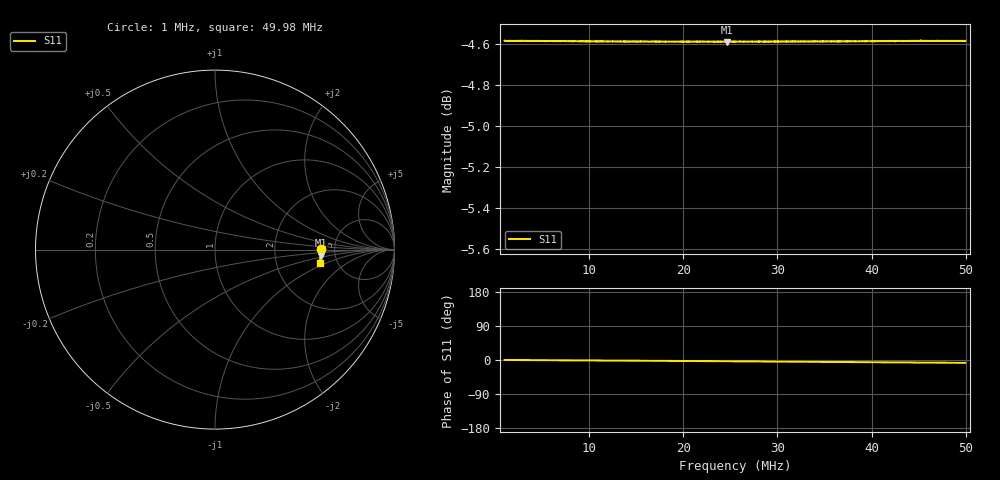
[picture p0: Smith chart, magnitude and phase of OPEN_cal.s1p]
! Created with skrf (http://scikit-rf.org).
# Hz S RI R 50.0
!freq ReS11 ImS11
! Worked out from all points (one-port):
!   2000 points, 1 MHz to 49.98 MHz, reference 50 ohm
!   lowest |S11| = -4.6 dB at 24.67 MHz (marker M1), VSWR 3.87, Z = 191 - j19.4 ohm
!   |S11| at or under -10 dB: nowhere
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1000000  0.5898 0.000965
1220500  0.5897 0.000592
2078000  0.5897 -0.000735
3425500  0.5897 -0.00276
7125000  0.5897 -0.00812
9942500  0.5895 -0.0122
1.2221e7  0.5894 -0.0153
1.325e7  0.5893 -0.0169
1.6778e7  0.5891 -0.0218
1.9375e7  0.5889 -0.0254
2.1972e7  0.5888 -0.0292
2.4667e7  0.5885 -0.0332
2.55e7  0.5884 -0.0344
2.7852e7  0.5882 -0.0381
2.89055e7  0.5882 -0.0397
3.1625e7  0.5879 -0.0441
3.44915e7  0.5875 -0.0489
3.71375e7  0.5871 -0.0536
3.775e7  0.5871 -0.0548
3.95385e7  0.5868 -0.0579
4.09595e7  0.5865 -0.0604
4.2993e7  0.5862 -0.0642
4.3875e7  0.5861 -0.0659
4.54185e7  0.5857 -0.0688
4.7648e7  0.5852 -0.073
4.97305e7  0.5847 -0.077
4.9853e7  0.5846 -0.0772
4.99755e7  0.5847 -0.0774
